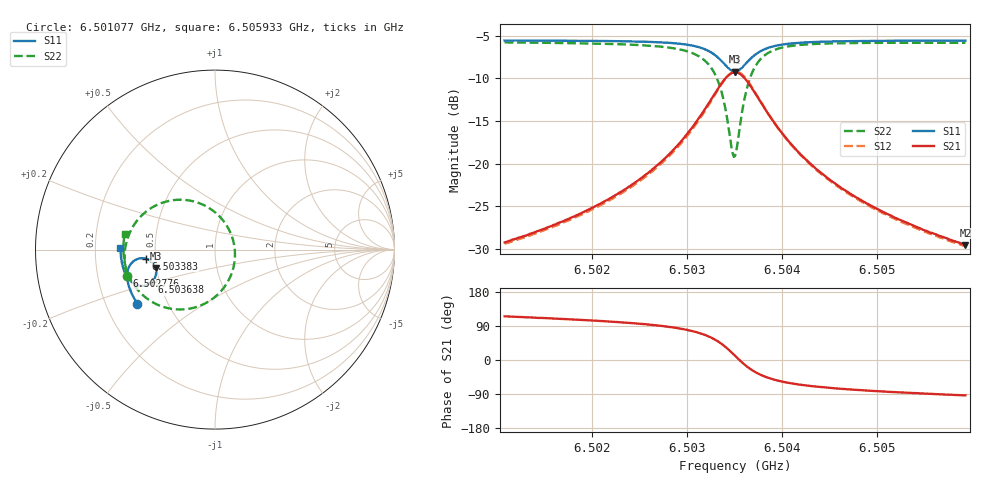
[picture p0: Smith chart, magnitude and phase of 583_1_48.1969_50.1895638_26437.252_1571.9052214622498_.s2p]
#  HZ  S  RI  R  50.00
! Rohde & Schwarz Vector Network Analyzer
! Rohde-Schwarz,ZNB20-2Port,1311601062101988,3.16
! Created: UTC 3/20/2024, 12:02:10 PM
! freq[Hz]  re:S11  im:S11  re:S21  im:S21  re:S12  im:S12  re:S22  im:S22
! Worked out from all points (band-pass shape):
!   401 points, 6.501077 GHz to 6.505933 GHz, reference 50 ohm
!   highest |S21| = -9.30 dB at 6.503505 GHz (marker M1); lowest = -29.5 dB at 6.505933 GHz (marker M2)
!   |S21| within 3 dB of the highest: 6.503262 GHz to 6.503748 GHz (485.9 kHz wide, 0.00747 % of centre)
!   lowest |S11| = -9.2 dB at 6.503505 GHz (marker M3), VSWR 2.06, Z = 24.7 - j5.73 ohm
!   |S11| at or under -10 dB: nowhere
!   |S22| runs from -19.2 to -5.8 dB; largest |S21 - S12| = 0.012
!   S11 on the Smith chart (normalised r, x): 6.501077 GHz: 0.34, -0.28; 6.502776 GHz: 0.33, -0.13; 6.503383 GHz: 0.44, -0.05; 6.503638 GHz: 0.45, -0.19; 6.505933 GHz: 0.31, +0.01
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6.5010768e9  -0.4319 -0.3018  -0.0147 0.0314  -0.0131 0.0315  -0.4926 -0.1444
6.5018902e9  -0.4662 -0.2405  -0.014 0.0496  -0.0116 0.0492  -0.5038 -0.0562
6.5023272e9  -0.4811 -0.2011  -0.0109 0.069  -0.00789 0.0679  -0.4999 0.00774
6.5027036e9  -0.4895 -0.1584  -0.00124 0.1001  0.00238 0.0977  -0.4786 0.0855
6.5027764e9  -0.49 -0.1484  0.00275 0.1088  0.00646 0.1062  -0.4697 0.105
6.5029828e9  -0.4862 -0.1149  0.0244 0.1431  0.0281 0.1388  -0.4248 0.1726
6.5031406e9  -0.4712 -0.0827  0.0642 0.1794  0.0669 0.1737  -0.3475 0.2365
6.5032863e9  -0.433 -0.0529  0.1468 0.2084  0.1474 0.2023  -0.1972 0.2779
6.5033348e9  -0.4114 -0.0481  0.1897 0.207  0.1898 0.2016  -0.1219 0.2693
6.5033834e9  -0.3858 -0.0501  0.2391 0.1918  0.2391 0.1873  -0.0373 0.2346
6.5034684e9  -0.3423 -0.0796  0.3184 0.1165  0.321 0.1125  0.0894 0.0865
6.5035048e9  -0.3313 -0.1021  0.3363 0.0671  0.3401 0.0619  0.1108 -0.00618
6.5035291e9  -0.3281 -0.1185  0.3399 0.0321  0.3442 0.0255  0.1085 -0.0703
6.5035655e9  -0.3302 -0.143  0.3327 -0.0187  0.3366 -0.0276  0.081 -0.1606
6.5036383e9  -0.3527 -0.1808  0.2854 -0.0962  0.2857 -0.1078  -0.0302 -0.2857
6.5037476e9  -0.3989 -0.2015  0.1972 -0.1423  0.1922 -0.1523  -0.2089 -0.3333
6.5039054e9  -0.4468 -0.1921  0.112 -0.1385  0.105 -0.1437  -0.3621 -0.2845
6.5040754e9  -0.475 -0.1706  0.0659 -0.117  0.0597 -0.1194  -0.4367 -0.217
6.5043182e9  -0.4961 -0.1409  0.0349 -0.0915  0.03 -0.092  -0.4812 -0.143
6.5046581e9  -0.5111 -0.1044  0.0162 -0.0683  0.0128 -0.0681  -0.5034 -0.0714
6.5051316e9  -0.5213 -0.0596  0.00519 -0.05  0.00308 -0.0492  -0.5107 -0.00129
6.5059328e9  -0.5266 0.0088  -0.00192 -0.0334  -0.0034 -0.0328  -0.5035 0.0855
